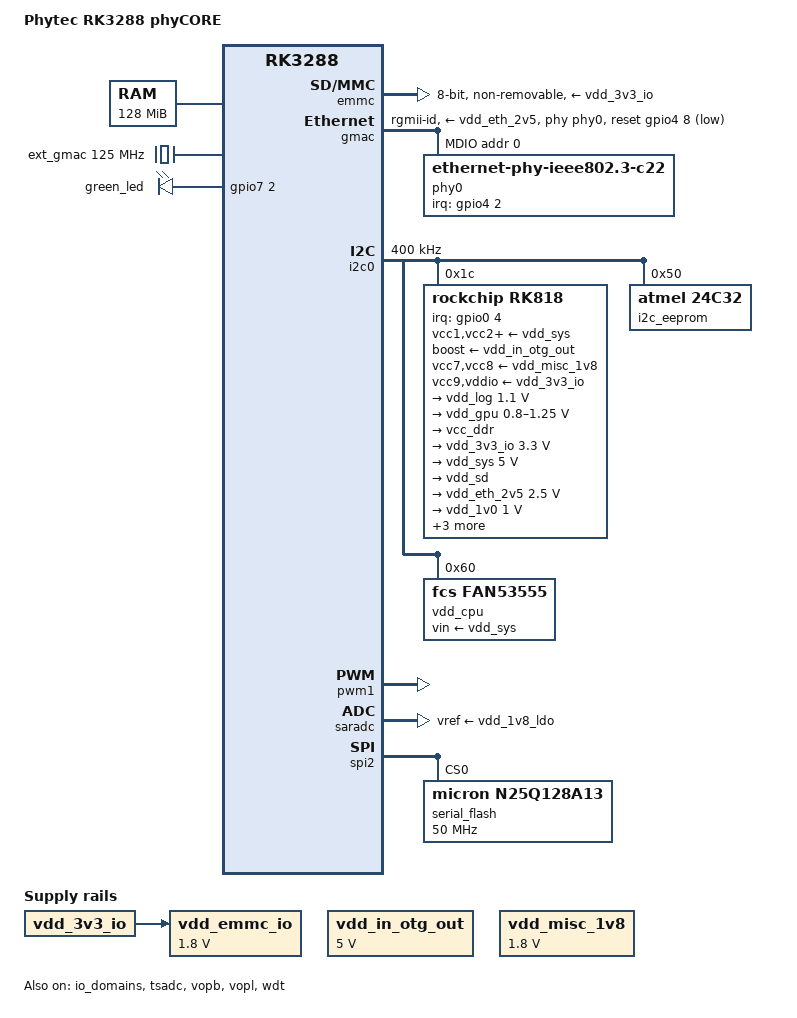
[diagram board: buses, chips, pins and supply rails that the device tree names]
/*
 * Device tree file for Phytec phyCORE-RK3288 SoM
 * Copyright (C) 2017 PHYTEC Messtechnik GmbH
 * Author: Wadim Egorov <w.egorov@phytec.de>
 *
 * This file is dual-licensed: you can use it either under the terms
 * of the GPL or the X11 license, at your option. Note that this dual
 * licensing only applies to this file, and not this project as a
 * whole.
 *
 *  a) This file is free software; you can redistribute it and/or
 *     modify it under the terms of the GNU General Public License as
 *     published by the Free Software Foundation; either version 2 of the
 *     License, or (at your option) any later version.
 *
 *     This file is distributed in the hope that it will be useful,
 *     but WITHOUT ANY WARRANTY; without even the implied warranty of
 *     MERCHANTABILITY or FITNESS FOR A PARTICULAR PURPOSE.  See the
 *     GNU General Public License for more details.
 *
 * Or, alternatively,
 *
 *  b) Permission is hereby granted, free of charge, to any person
 *     obtaining a copy of this software and associated documentation
 *     files (the "Software"), to deal in the Software without
 *     restriction, including without limitation the rights to use,
 *     copy, modify, merge, publish, distribute, sublicense, and/or
 *     sell copies of the Software, and to permit persons to whom the
 *     Software is furnished to do so, subject to the following
 *     conditions:
 *
 *     The above copyright notice and this permission notice shall be
 *     included in all copies or substantial portions of the Software.
 *
 *     THE SOFTWARE IS PROVIDED "AS IS", WITHOUT WARRANTY OF ANY KIND,
 *     EXPRESS OR IMPLIED, INCLUDING BUT NOT LIMITED TO THE WARRANTIES
 *     OF MERCHANTABILITY, FITNESS FOR A PARTICULAR PURPOSE AND
 *     NONINFRINGEMENT. IN NO EVENT SHALL THE AUTHORS OR COPYRIGHT
 *     HOLDERS BE LIABLE FOR ANY CLAIM, DAMAGES OR OTHER LIABILITY,
 *     WHETHER IN AN ACTION OF CONTRACT, TORT OR OTHERWISE, ARISING
 *     FROM, OUT OF OR IN CONNECTION WITH THE SOFTWARE OR THE USE OR
 *     OTHER DEALINGS IN THE SOFTWARE.
 */

#include <dt-bindings/net/ti-dp83867.h>
#include "rk3288.dtsi"

/ {
	model = "Phytec RK3288 phyCORE";
	compatible = "phytec,rk3288-phycore-som", "rockchip,rk3288";

	/*
	 * Set the minimum memory size here and
	 * let the bootloader set the real size.
	 */
	memory {
		device_type = "memory";
		reg = <0x0 0x0 0x0 0x8000000>;
	};

	aliases {
		rtc0 = &i2c_rtc;
		rtc1 = &rk818;
	};

	ext_gmac: external-gmac-clock {
		compatible = "fixed-clock";
		#clock-cells = <0>;
		clock-frequency = <125000000>;
		clock-output-names = "ext_gmac";
	};

	leds: user-leds {
		compatible = "gpio-leds";
		pinctrl-names = "default";
		pinctrl-0 = <&user_led>;

		user {
			label = "green_led";
			gpios = <&gpio7 2 GPIO_ACTIVE_HIGH>;
			linux,default-trigger = "heartbeat";
			default-state = "keep";
		};
	};

	vdd_emmc_io: vdd-emmc-io {
		compatible = "regulator-fixed";
		regulator-name = "vdd_emmc_io";
		regulator-min-microvolt = <1800000>;
		regulator-max-microvolt = <1800000>;
		vin-supply = <&vdd_3v3_io>;
	};

	vdd_in_otg_out: vdd-in-otg-out {
		compatible = "regulator-fixed";
		regulator-name = "vdd_in_otg_out";
		regulator-always-on;
		regulator-boot-on;
		regulator-min-microvolt = <5000000>;
		regulator-max-microvolt = <5000000>;
	};

	vdd_misc_1v8: vdd-misc-1v8 {
		compatible = "regulator-fixed";
		regulator-name = "vdd_misc_1v8";
		regulator-always-on;
		regulator-boot-on;
		regulator-min-microvolt = <1800000>;
		regulator-max-microvolt = <1800000>;
	};
};

&emmc {
	status = "okay";
	bus-width = <8>;
	cap-mmc-highspeed;
	disable-wp;
	non-removable;
	pinctrl-names = "default";
	pinctrl-0 = <&emmc_clk &emmc_cmd &emmc_pwr &emmc_bus8>;
	vmmc-supply = <&vdd_3v3_io>;
	vqmmc-supply = <&vdd_emmc_io>;
};

&gmac {
	assigned-clocks = <&cru SCLK_MAC>;
	assigned-clock-parents = <&ext_gmac>;
	clock_in_out = "input";
	pinctrl-names = "default";
	pinctrl-0 = <&rgmii_pins &phy_rst &phy_int>;
	phy-handle = <&phy0>;
	phy-supply = <&vdd_eth_2v5>;
	phy-mode = "rgmii-id";
	snps,reset-active-low;
	snps,reset-delays-us = <0 10000 1000000>;
	snps,reset-gpio = <&gpio4 8 GPIO_ACTIVE_HIGH>;
	tx_delay = <0x0>;
	rx_delay = <0x0>;

	mdio0 {
		compatible = "snps,dwmac-mdio";
		#address-cells = <1>;
		#size-cells = <0>;

		phy0: ethernet-phy@0 {
			compatible = "ethernet-phy-ieee802.3-c22";
			reg = <0>;
			interrupt-parent = <&gpio4>;
			interrupts = <2 IRQ_TYPE_EDGE_FALLING>;
			ti,rx-internal-delay = <DP83867_RGMIIDCTL_2_00_NS>;
			ti,tx-internal-delay = <DP83867_RGMIIDCTL_2_00_NS>;
			ti,fifo-depth = <DP83867_PHYCR_FIFO_DEPTH_4_B_NIB>;
			enet-phy-lane-no-swap;
		};
	};
};

&hdmi {
	ddc-i2c-bus = <&i2c5>;
};

&io_domains {
	status = "okay";
	sdcard-supply = <&vdd_io_sd>;
	flash0-supply = <&vdd_emmc_io>;
	flash1-supply = <&vdd_misc_1v8>;
	gpio1830-supply = <&vdd_3v3_io>;
	gpio30-supply = <&vdd_3v3_io>;
	bb-supply = <&vdd_3v3_io>;
	dvp-supply = <&vdd_3v3_io>;
	lcdc-supply = <&vdd_3v3_io>;
	wifi-supply = <&vdd_3v3_io>;
	audio-supply = <&vdd_3v3_io>;
};

&i2c0 {
	status = "okay";
	clock-frequency = <400000>;

	rk818: pmic@1c {
		compatible = "rockchip,rk818";
		reg = <0x1c>;
		interrupt-parent = <&gpio0>;
		interrupts = <4 IRQ_TYPE_LEVEL_LOW>;
		pinctrl-names = "default";
		pinctrl-0 = <&pmic_int>;
		rockchip,system-power-controller;
		wakeup-source;
		#clock-cells = <1>;

		vcc1-supply = <&vdd_sys>;
		vcc2-supply = <&vdd_sys>;
		vcc3-supply = <&vdd_sys>;
		vcc4-supply = <&vdd_sys>;
		boost-supply = <&vdd_in_otg_out>;
		vcc6-supply = <&vdd_sys>;
		vcc7-supply = <&vdd_misc_1v8>;
		vcc8-supply = <&vdd_misc_1v8>;
		vcc9-supply = <&vdd_3v3_io>;
		vddio-supply = <&vdd_3v3_io>;

		regulators {
			vdd_log: DCDC_REG1 {
				regulator-name = "vdd_log";
				regulator-always-on;
				regulator-boot-on;
				regulator-min-microvolt = <1100000>;
				regulator-max-microvolt = <1100000>;
				regulator-state-mem {
					regulator-off-in-suspend;
				};
			};

			vdd_gpu: DCDC_REG2 {
				regulator-name = "vdd_gpu";
				regulator-always-on;
				regulator-boot-on;
				regulator-min-microvolt = <800000>;
				regulator-max-microvolt = <1250000>;
				regulator-state-mem {
					regulator-on-in-suspend;
					regulator-suspend-microvolt = <1000000>;
				};
			};

			vcc_ddr: DCDC_REG3 {
				regulator-name = "vcc_ddr";
				regulator-always-on;
				regulator-boot-on;
				regulator-state-mem {
					regulator-on-in-suspend;
				};
			};

			vdd_3v3_io: DCDC_REG4 {
				regulator-name = "vdd_3v3_io";
				regulator-always-on;
				regulator-boot-on;
				regulator-min-microvolt = <3300000>;
				regulator-max-microvolt = <3300000>;
				regulator-state-mem {
					regulator-on-in-suspend;
					regulator-suspend-microvolt = <3300000>;
				};
			};

			vdd_sys: DCDC_BOOST {
				regulator-name = "vdd_sys";
				regulator-always-on;
				regulator-boot-on;
				regulator-min-microvolt = <5000000>;
				regulator-max-microvolt = <5000000>;
				regulator-state-mem {
					regulator-on-in-suspend;
					regulator-suspend-microvolt = <5000000>;
				};
			};

			/* vcc9 */
			vdd_sd: SWITCH_REG {
				regulator-name = "vdd_sd";
				regulator-always-on;
				regulator-boot-on;
				regulator-state-mem {
					regulator-off-in-suspend;
				};
			};

			/* vcc6 */
			vdd_eth_2v5: LDO_REG2 {
				regulator-name = "vdd_eth_2v5";
				regulator-always-on;
				regulator-boot-on;
				regulator-min-microvolt = <2500000>;
				regulator-max-microvolt = <2500000>;
				regulator-state-mem {
					regulator-on-in-suspend;
					regulator-suspend-microvolt = <2500000>;
				};
			};

			/* vcc7 */
			vdd_1v0: LDO_REG3 {
				regulator-name = "vdd_1v0";
				regulator-always-on;
				regulator-boot-on;
				regulator-min-microvolt = <1000000>;
				regulator-max-microvolt = <1000000>;
				regulator-state-mem {
					regulator-on-in-suspend;
					regulator-suspend-microvolt = <1000000>;
				};
			};

			/* vcc8 */
			vdd_1v8_lcd_ldo: LDO_REG4 {
				regulator-name = "vdd_1v8_lcd_ldo";
				regulator-always-on;
				regulator-boot-on;
				regulator-min-microvolt = <1800000>;
				regulator-max-microvolt = <1800000>;
				regulator-state-mem {
					regulator-on-in-suspend;
					regulator-suspend-microvolt = <1800000>;
				};
			};

			/* vcc8 */
			vdd_1v0_lcd: LDO_REG6 {
				regulator-name = "vdd_1v0_lcd";
				regulator-always-on;
				regulator-boot-on;
				regulator-min-microvolt = <1000000>;
				regulator-max-microvolt = <1000000>;
				regulator-state-mem {
					regulator-on-in-suspend;
					regulator-suspend-microvolt = <1000000>;
				};
			};

			/* vcc7 */
			vdd_1v8_ldo: LDO_REG7 {
				regulator-name = "vdd_1v8_ldo";
				regulator-always-on;
				regulator-boot-on;
				regulator-min-microvolt = <1800000>;
				regulator-max-microvolt = <1800000>;
				regulator-state-mem {
					regulator-off-in-suspend;
					regulator-suspend-microvolt = <1800000>;
				};
			};

			/* vcc9 */
			vdd_io_sd: LDO_REG9 {
				regulator-name = "vdd_io_sd";
				regulator-always-on;
				regulator-boot-on;
				regulator-min-microvolt = <3300000>;
				regulator-max-microvolt = <3300000>;
				regulator-state-mem {
					regulator-on-in-suspend;
					regulator-suspend-microvolt = <3300000>;
				};
			};
		};
	};

	/* M24C32-D */
	i2c_eeprom: eeprom@50 {
		compatible = "atmel,24c32";
		reg = <0x50>;
		pagesize = <32>;
	};

	vdd_cpu: regulator@60 {
		compatible = "fcs,fan53555";
		reg = <0x60>;
		fcs,suspend-voltage-selector = <1>;
		regulator-always-on;
		regulator-boot-on;
		regulator-enable-ramp-delay = <300>;
		regulator-name = "vdd_cpu";
		regulator-min-microvolt = <800000>;
		regulator-max-microvolt = <1430000>;
		regulator-ramp-delay = <8000>;
		vin-supply = <&vdd_sys>;
	};
};

&pinctrl {
	pcfg_output_high: pcfg-output-high {
		output-high;
	};

	emmc {
		/*
		 * We run eMMC at max speed; bump up drive strength.
		 * We also have external pulls, so disable the internal ones.
		 */
		emmc_clk: emmc-clk {
			rockchip,pins = <3 18 RK_FUNC_2 &pcfg_pull_none_12ma>;
		};

		emmc_cmd: emmc-cmd {
			rockchip,pins = <3 16 RK_FUNC_2 &pcfg_pull_none_12ma>;
		};

		emmc_bus8: emmc-bus8 {
			rockchip,pins = <3 0 RK_FUNC_2 &pcfg_pull_none_12ma>,
					<3 1 RK_FUNC_2 &pcfg_pull_none_12ma>,
					<3 2 RK_FUNC_2 &pcfg_pull_none_12ma>,
					<3 3 RK_FUNC_2 &pcfg_pull_none_12ma>,
					<3 4 RK_FUNC_2 &pcfg_pull_none_12ma>,
					<3 5 RK_FUNC_2 &pcfg_pull_none_12ma>,
					<3 6 RK_FUNC_2 &pcfg_pull_none_12ma>,
					<3 7 RK_FUNC_2 &pcfg_pull_none_12ma>;
		};
	};

	gmac {
		phy_int: phy-int {
			rockchip,pins = <4 2 RK_FUNC_GPIO &pcfg_pull_up>;
		};

		phy_rst: phy-rst {
			rockchip,pins = <4 8 RK_FUNC_GPIO &pcfg_output_high>;
		};
	};

	leds {
		user_led: user-led {
			rockchip,pins = <7 2 RK_FUNC_GPIO &pcfg_output_high>;
		};
	};

	pmic {
		pmic_int: pmic-int {
			rockchip,pins = <RK_GPIO0 4 RK_FUNC_GPIO &pcfg_pull_up>;
		};

		/* Pin for switching state between sleep and non-sleep state */
		pmic_sleep: pmic-sleep {
			rockchip,pins = <RK_GPIO0 0 RK_FUNC_GPIO &pcfg_pull_up>;
		};
	};
};

&pwm1 {
	status = "okay";
};

&saradc {
	status = "okay";
	vref-supply = <&vdd_1v8_ldo>;
};

&spi2 {
	status = "okay";

	serial_flash: flash@0 {
		compatible = "micron,n25q128a13", "jedec,spi-nor";
		reg = <0x0>;
		spi-max-frequency = <50000000>;
		m25p,fast-read;
		#address-cells = <1>;
		#size-cells = <1>;
		status = "okay";
	};
};

&tsadc {
	status = "okay";
	rockchip,hw-tshut-mode = <0>;
	rockchip,hw-tshut-polarity = <0>;
};

&vopb {
	status = "okay";
};

&vopb_mmu {
	status = "okay";
};

&vopl {
	status = "okay";
};

&vopl_mmu {
	status = "okay";
};

&wdt {
	status = "okay";
};
